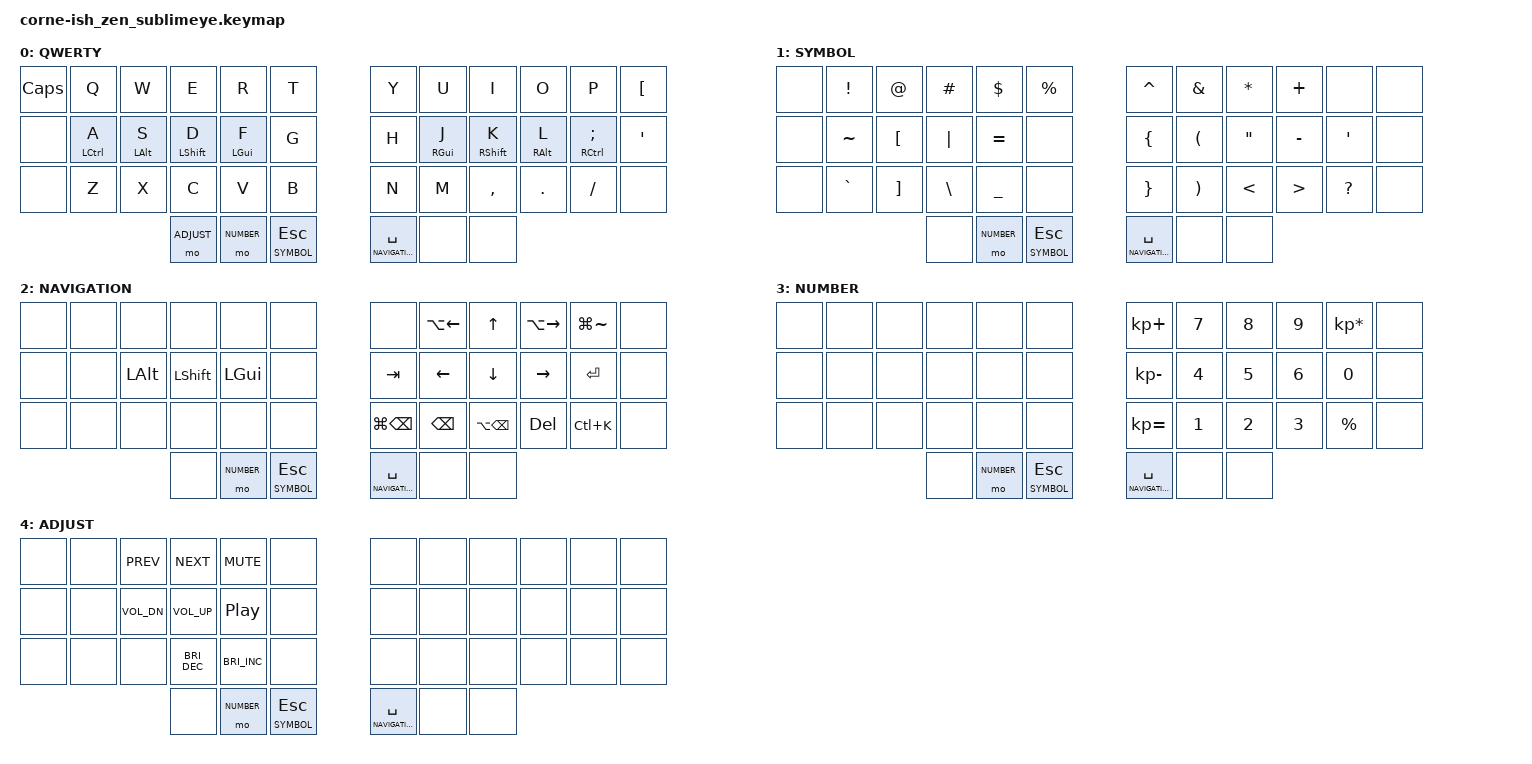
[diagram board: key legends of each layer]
/*
*
* Copyright (c) 2021 lowprokb.ca
* SPDX-License-Identifier: MIT
*
*/

#include <behaviors.dtsi>
#include <dt-bindings/zmk/keys.h>
#include <dt-bindings/zmk/bt.h>

#define QWERTY 0
#define SYMBOL 1
#define NAVIGATION 2
#define NUMBER 3
#define ADJUST 4

#define SYM &lt SYMBOL ESC
#define NAV &lt NAVIGATION SPACE
#define NUM &mo NUMBER
#define ADJ &mo ADJUST

#define XC_A &mt LCTRL A
#define XC_S &mt LALT S
#define XC_D &mt LSHFT D
#define XC_F &mt LGUI F

#define XC_J &mt RGUI J
#define XC_K &mt RSHFT K
#define XC_L &mt RALT L
#define XC_SCLN &mt RCTRL SEMI


/ {
        keymap {
                compatible = "zmk,keymap";

                default_layer {
                        label = "QWERTY";
                        bindings = <
   &kp CAPS  &kp Q &kp W &kp E &kp R &kp T    &kp Y &kp U &kp I    &kp O   &kp P    &kp LBKT
   &none     XC_A  XC_S  XC_D  XC_F  &kp G    &kp H XC_J  XC_K     XC_L    XC_SCLN  &kp SQT
   &none     &kp Z &kp X &kp C &kp V &kp B    &kp N &kp M &kp COMMA &kp DOT &kp SLASH &none
                     ADJ     NUM     SYM      NAV   &none   &none
                        >;
                };

                symbol_layer {
                        label = "SYMBOL";
                        bindings = <
   &none &kp EXCL  &kp AT  &kp HASH  &kp DLLR  &kp PRCNT      &kp CARET   &kp AMPS  &kp ASTRK   &kp PLUS   &none      &none
   &none &kp TILDE &kp LBKT &kp PIPE &kp EQUAL &none          &kp LBRC    &kp LPAR  &kp DQT     &kp MINUS  &kp SQT   &none
   &none &kp GRAVE &kp RBKT &kp BSLH &kp UNDER &none          &kp RBRC    &kp RPAR  &kp LT      &kp GT     &kp QMARK  &none
                     &none     NUM             SYM            NAV   &none   &none
                        >;
                };

                navigation_layer {
                        label = "NAVIGATION";
                        bindings = < 
   &none &none &none    &none     &none      &none                &none         &kp LA(LEFT) &kp UP       &kp LA(RIGHT) &kp LG(TILDE) &none
   &none &none &kp LALT &kp LSHFT &kp LGUI   &none                &kp TAB       &kp LEFT     &kp DOWN     &kp RIGHT     &kp ENTER     &none
   &none &none &none    &none     &none      &none                &kp LG(BSPC)  &kp BSPC     &kp LA(BSPC) &kp DEL       &kp LC(K)     &none
            &none                 NUM        SYM                  NAV           &none        &none
                        >;
                };

                numpad_layer {
                        label = "NUMBER";
                        bindings = < 
   &none &none &none &none &none &none                  &kp KP_PLUS    &kp N7 &kp N8 &kp N9 &kp KP_MULTIPLY &none
   &none &none &none &none &none &none                  &kp KP_MINUS   &kp N4 &kp N5 &kp N6 &kp N0  &none
   &none &none &none &none &none &none                  &kp KP_EQUAL   &kp N1 &kp N2 &kp N3 &kp PRCNT &none
                     &none     NUM  SYM                 NAV   &none   &none
                        >;
                };

                adjust_layer {
                        label = "ADJUST";
                        bindings = <
   &none &none &kp C_PREV   &kp C_NEXT    &kp C_MUTE       &none        &none &none &none &none &none &none 
   &none &none &kp C_VOL_DN &kp C_VOL_UP  &kp C_PLAY_PAUSE &none        &none &none &none &none &none &none 
   &none &none &none        &kp C_BRI_DEC &kp C_BRI_INC    &none        &none &none &none &none &none &none 
                     &none                NUM              SYM          NAV   &none   &none
                        >;
                };

        };
};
